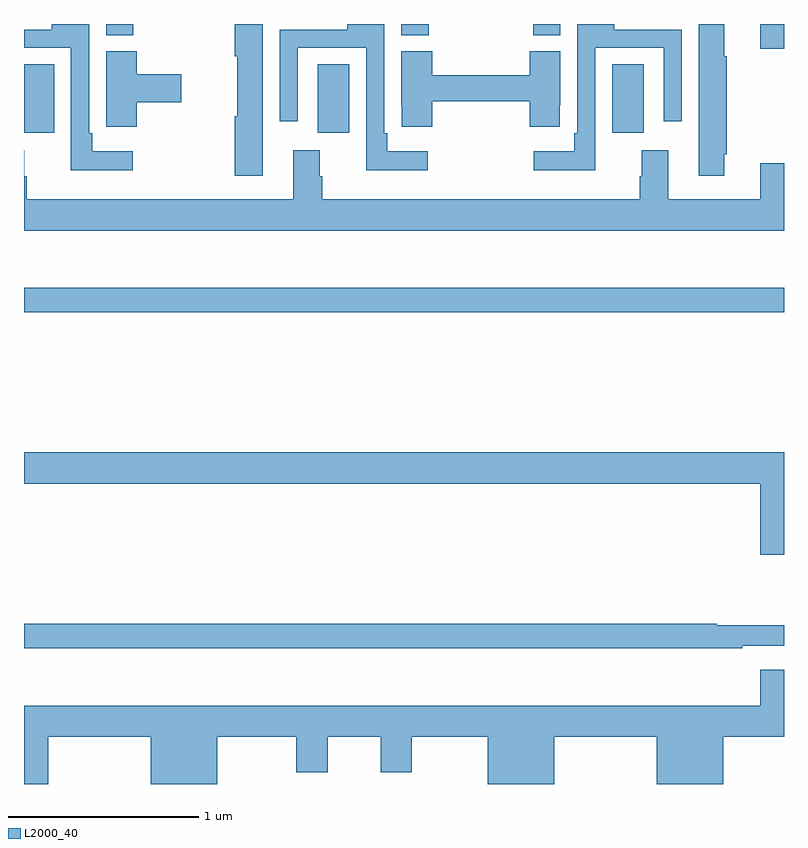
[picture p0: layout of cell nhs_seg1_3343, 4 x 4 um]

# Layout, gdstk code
import gdstk
lib = gdstk.Library(unit=1e-6, precision=1e-09)
def R(c, l, rs):  # rectangles x0, y0, x1, y1
    for r in rs: c.add(gdstk.rectangle(r[:2], r[2:], *l))
def P(c, l, *ps):  # polygons
    for p in ps: c.add(gdstk.Polygon(p, *l))
L2000_40 = (2000, 40)

nhs_seg1_3343 = lib.new_cell('nhs_seg1_3343')
R(nhs_seg1_3343, L2000_40, [(293,504.682,297,504.811), (293,505.626,293.158,505.988), (294.545,505.626,294.712,505.988), (296.096,505.626,296.263,505.988), (296.876,506.07,297,506.199), (293.432,506.14,293.576,506.199), (294.986,506.14,295.13,506.199), (295.679,506.14,295.822,506.199)])
P(nhs_seg1_3343, L2000_40, [(296.686,505.513),(296.699,505.513),(296.699,506.028),(296.686,506.028),(296.686,506.199),(296.552,506.199),(296.552,505.401),(296.686,505.401)],
  [(294.256,506.199),(294.11,506.199),(294.11,506.028),(294.122,506.028),(294.122,505.713),(294.11,505.713),(294.11,505.401),(294.256,505.401)],
  [(295.126,505.528),(294.913,505.528),(294.913,505.624),(294.897,505.624),(294.897,506.199),(294.701,506.199),(294.701,506.169),(294.345,506.169),(294.345,505.686),(294.441,505.686),(294.441,506.073),(294.801,506.073),(294.801,505.43),(295.126,505.43)],
  [(296.007,506.073),(296.367,506.073),(296.367,505.686),(296.463,505.686),(296.463,506.169),(296.107,506.169),(296.107,506.199),(295.911,506.199),(295.911,505.624),(295.895,505.624),(295.895,505.528),(295.683,505.528),(295.683,505.43),(296.007,505.43)],
  [(293.572,505.528),(293.359,505.528),(293.359,505.624),(293.343,505.624),(293.343,506.199),(293.147,506.199),(293.147,506.169),(293,506.169),(293,506.073),(293.247,506.073),(293.247,505.43),(293.572,505.43)],
  [(295.148,505.792),(295.661,505.792),(295.661,505.659),(295.821,505.659),(295.821,505.771),(295.822,505.771),(295.822,506.055),(295.661,506.055),(295.661,505.928),(295.148,505.928),(295.148,506.055),(294.986,506.055),(294.986,505.771),(294.987,505.771),(294.987,505.659),(295.148,505.659)],
  [(293.594,505.787),(293.827,505.787),(293.827,505.934),(293.594,505.934),(293.594,506.055),(293.432,506.055),(293.432,505.771),(293.433,505.771),(293.433,505.659),(293.594,505.659)],
  [(297,505.465),(296.876,505.465),(296.876,505.276),(296.392,505.276),(296.392,505.534),(296.252,505.534),(296.252,505.397),(296.24,505.397),(296.24,505.276),(294.569,505.276),(294.569,505.397),(294.556,505.397),(294.556,505.534),(294.416,505.534),(294.416,505.276),(293.015,505.276),(293.015,505.397),(293.002,505.397),(293.002,505.534),(293,505.534),(293,505.112),(297,505.112)],
  [(297,503.944),(293,503.944),(293,503.78),(296.876,503.78),(296.876,503.406),(297,503.406)],
  [(296.78,502.926),(297,502.926),(297,503.035),(296.645,503.035),(296.645,503.042),(293,503.042),(293,502.914),(296.78,502.914)],
  [(293.128,502.448),(293.666,502.448),(293.666,502.199),(294.016,502.199),(294.016,502.448),(294.434,502.448),(294.434,502.26),(294.598,502.26),(294.598,502.448),(294.878,502.448),(294.878,502.26),(295.042,502.26),(295.042,502.448),(295.442,502.448),(295.442,502.199),(295.792,502.199),(295.792,502.448),(296.33,502.448),(296.33,502.199),(296.68,502.199),(296.68,502.448),(297,502.448),(297,502.801),(296.876,502.801),(296.876,502.612),(293,502.612),(293,502.199),(293.128,502.199)])

lib.write_gds('nhs_seg1_3343.gds')
